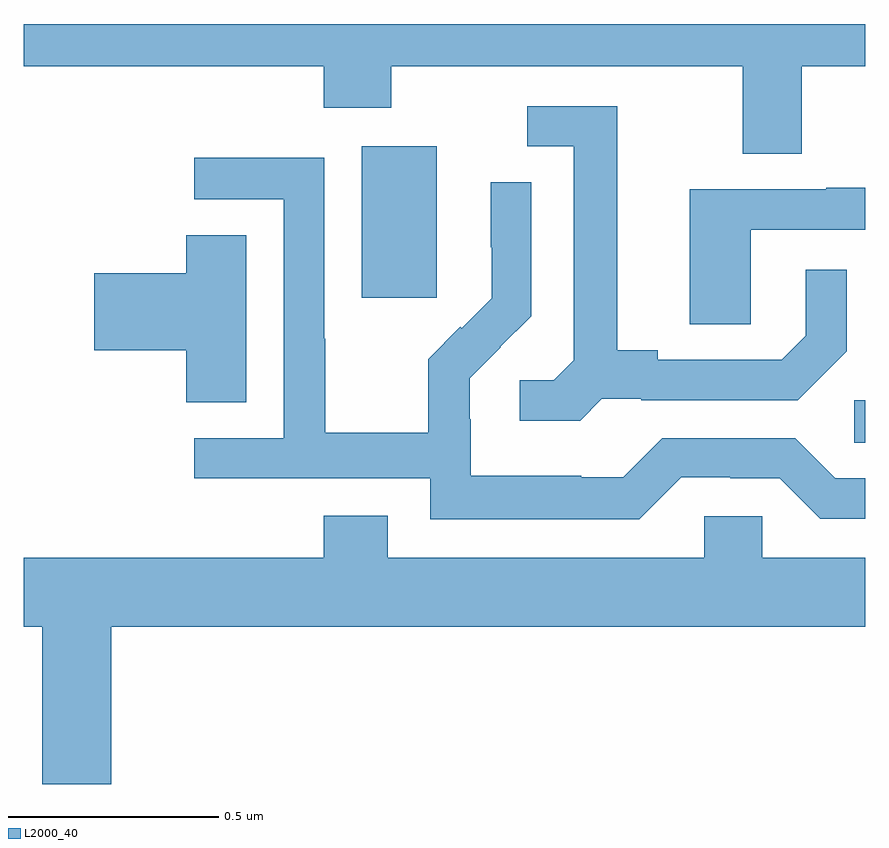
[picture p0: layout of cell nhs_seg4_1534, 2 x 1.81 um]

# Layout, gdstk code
import gdstk
lib = gdstk.Library(unit=1e-6, precision=1e-09)
def R(c, l, rs):  # rectangles x0, y0, x1, y1
    for r in rs: c.add(gdstk.rectangle(r[:2], r[2:], *l))
def P(c, l, *ps):  # polygons
    for p in ps: c.add(gdstk.Polygon(p, *l))
L2000_40 = (2000, 40)

nhs_seg4_1534 = lib.new_cell('nhs_seg4_1534')
R(nhs_seg4_1534, L2000_40, [(130.974,815.905,131,816.006), (129.803,816.249,129.982,816.61)])
P(nhs_seg4_1534, L2000_40, [(130.849,816.8),(131,816.8),(131,816.9),(129,816.9),(129,816.8),(129.713,816.8),(129.713,816.701),(129.873,816.701),(129.873,816.8),(130.709,816.8),(130.709,816.592),(130.849,816.592)],
  [(130.374,816.009),(130.468,816.009),(130.468,816.006),(130.84,816.006),(130.956,816.122),(130.956,816.316),(130.859,816.316),(130.859,816.159),(130.802,816.102),(130.507,816.102),(130.507,816.125),(130.411,816.125),(130.411,816.705),(130.197,816.705),(130.197,816.609),(130.307,816.609),(130.307,816.101),(130.26,816.054),(130.179,816.054),(130.179,815.957),(130.322,815.957)],
  [(130.563,815.823),(130.679,815.823),(130.679,815.82),(130.797,815.82),(130.893,815.724),(131,815.724),(131,815.82),(130.929,815.82),(130.833,815.916),(130.518,815.916),(130.425,815.823),(130.325,815.823),(130.325,815.827),(130.062,815.827),(130.062,815.961),(130.06,815.961),(130.06,816.058),(130.134,816.132),(130.133,816.133),(130.206,816.206),(130.206,816.524),(130.11,816.524),(130.11,816.37),(130.112,816.37),(130.112,816.248),(130.041,816.177),(130.038,816.18),(129.961,816.103),(129.961,815.929),(129.717,815.929),(129.717,816.152),(129.714,816.152),(129.714,816.582),(129.405,816.582),(129.405,816.483),(129.618,816.483),(129.618,815.916),(129.405,815.916),(129.405,815.82),(129.966,815.82),(129.966,815.723),(130.463,815.723)],
  [(130.728,816.411),(131,816.411),(131,816.511),(130.907,816.511),(130.907,816.507),(130.583,816.507),(130.583,816.187),(130.728,816.187)],
  [(129.529,816.398),(129.386,816.398),(129.386,816.308),(129.168,816.308),(129.168,816.125),(129.386,816.125),(129.386,816.001),(129.529,816.001)],
  [(129.208,815.468),(131,815.468),(131,815.632),(130.755,815.632),(130.755,815.73),(130.617,815.73),(130.617,815.632),(129.865,815.632),(129.865,815.731),(129.713,815.731),(129.713,815.632),(129,815.632),(129,815.468),(129.044,815.468),(129.044,815.094),(129.208,815.094)])

lib.write_gds('nhs_seg4_1534.gds')
